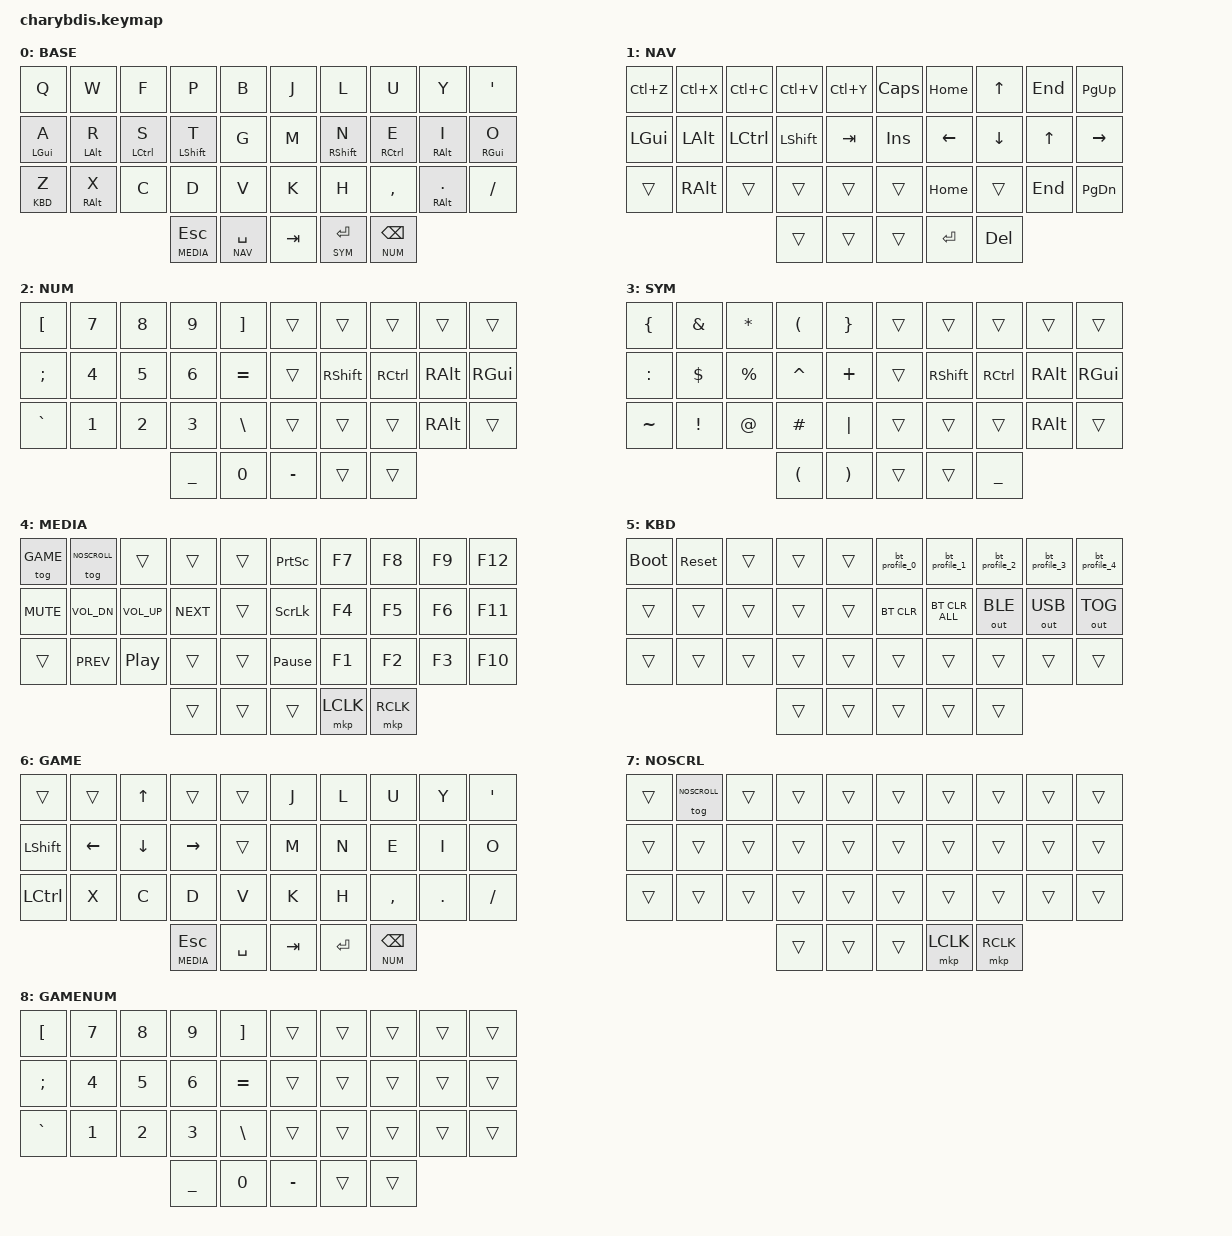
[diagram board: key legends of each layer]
#include <behaviors/mouse_keys.dtsi>
#include <dt-bindings/zmk/mouse.h>
#include <dt-bindings/zmk/pointing.h>
#include <behaviors.dtsi>
#include <dt-bindings/zmk/bt.h>
#include <dt-bindings/zmk/outputs.h>
#include <dt-bindings/zmk/keys.h>

#define BASE 0
#define NAV 1
#define NUM 2
#define SYM 3
#define MEDIA 4
#define KBD 5
#define GAME 6
#define NOSCROLL 7
#define GAME_NUM 8

#define U_TAPPING_TERM 200
#define QUICK_TAP_TERM 175

&mt {
    tapping-term-ms = <U_TAPPING_TERM>;
    quick-tap-ms = <QUICK_TAP_TERM>;
    flavor = "tap-preferred";
};

&lt {
    tapping-term-ms = <U_TAPPING_TERM>;
    quick-tap-ms = <QUICK_TAP_TERM>;       // Enable quick-tap for repeated keys (e.g., backspace)
    flavor = "balanced";                    // Hold activates when another key is pressed
                                            // retro-tap removed to allow layer activation
                                            // without another keypress (needed for scroll)
};

/ {
    chosen { zmk,matrix_transform = &default_transform; };
};

/ {
    macros {
        // Select the destination before disconnecting inactive host profiles.
        // BT_DISC preserves bonds and does not target the split peripheral.
        bt_profile_0: bt_profile_0 {
            compatible = "zmk,behavior-macro";
            #binding-cells = <0>;
            wait-ms = <0>;
            tap-ms = <0>;
            bindings = <&macro_press &bt BT_SEL 0 &out OUT_BLE
                        &bt BT_DISC 1 &bt BT_DISC 2 &bt BT_DISC 3 &bt BT_DISC 4>;
        };

        bt_profile_1: bt_profile_1 {
            compatible = "zmk,behavior-macro";
            #binding-cells = <0>;
            wait-ms = <0>;
            tap-ms = <0>;
            bindings = <&macro_press &bt BT_SEL 1 &out OUT_BLE
                        &bt BT_DISC 0 &bt BT_DISC 2 &bt BT_DISC 3 &bt BT_DISC 4>;
        };

        bt_profile_2: bt_profile_2 {
            compatible = "zmk,behavior-macro";
            #binding-cells = <0>;
            wait-ms = <0>;
            tap-ms = <0>;
            bindings = <&macro_press &bt BT_SEL 2 &out OUT_BLE
                        &bt BT_DISC 0 &bt BT_DISC 1 &bt BT_DISC 3 &bt BT_DISC 4>;
        };

        bt_profile_3: bt_profile_3 {
            compatible = "zmk,behavior-macro";
            #binding-cells = <0>;
            wait-ms = <0>;
            tap-ms = <0>;
            bindings = <&macro_press &bt BT_SEL 3 &out OUT_BLE
                        &bt BT_DISC 0 &bt BT_DISC 1 &bt BT_DISC 2 &bt BT_DISC 4>;
        };

        bt_profile_4: bt_profile_4 {
            compatible = "zmk,behavior-macro";
            #binding-cells = <0>;
            wait-ms = <0>;
            tap-ms = <0>;
            bindings = <&macro_press &bt BT_SEL 4 &out OUT_BLE
                        &bt BT_DISC 0 &bt BT_DISC 1 &bt BT_DISC 2 &bt BT_DISC 3>;
        };
    };

    conditional_layers {
        compatible = "zmk,conditional-layers";
        triple_layer_game_num {
            if-layers = <GAME NUM>;
            then-layer = <GAME_NUM>;
        };
    };

    behaviors {
        // Home row mods - balanced flavor like Miryoku
        // Requires holding for mod, but allows rolling for typing
        hrm_left: hrm_left {
            compatible = "zmk,behavior-hold-tap";
            label = "Homerow Mods Left";
            bindings = <&kp>, <&kp>;
            #binding-cells = <2>;
            tapping-term-ms = <280>;
            quick-tap-ms = <175>;
            require-prior-idle-ms = <150>;
            flavor = "balanced";
            hold-trigger-key-positions = <5 6 7 8 9 15 16 17 18 19 25 26 27 28 29 32 33 34>;
            hold-trigger-on-release;
        };

        hrm_right: hrm_right {
            compatible = "zmk,behavior-hold-tap";
            label = "Homerow Mods Right";
            bindings = <&kp>, <&kp>;
            #binding-cells = <2>;
            tapping-term-ms = <280>;
            quick-tap-ms = <175>;
            require-prior-idle-ms = <150>;
            flavor = "balanced";
            hold-trigger-key-positions = <0 1 2 3 4 10 11 12 13 14 20 21 22 23 24 30 31 34>;
            hold-trigger-on-release;
        };

        // Z key hold for KBD layer access
        z_kbd: z_kbd {
            compatible = "zmk,behavior-hold-tap";
            label = "Z KBD Layer";
            bindings = <&mo>, <&kp>;
            #binding-cells = <2>;
            tapping-term-ms = <200>;
            quick-tap-ms = <0>;
            flavor = "balanced";
        };
    };

    combos {
        compatible = "zmk,combos";

        // Q + ' = Keyboard Controls layer
        combo_kbd_layer {
            bindings = <&tog KBD>;
            key-positions = <0 9>;
            timeout-ms = <50>;
            layers = <BASE NAV NUM SYM MEDIA NOSCROLL>;
        };

        // Both shifts = Caps Word
        combo_caps_word {
            bindings = <&caps_word>;
            key-positions = <13 16>;
            timeout-ms = <50>;
            layers = <BASE NAV NUM SYM MEDIA NOSCROLL>;
        };

        // Return to base layer
        combo_base_layer {
            bindings = <&to BASE>;
            key-positions = <4 5>;
            timeout-ms = <50>;
            layers = <BASE NAV NUM SYM MEDIA KBD NOSCROLL>;
        };
    };

    keymap {
        compatible = "zmk,keymap";

        // Layer 0: BASE (Colemak-DH)
        BASE {
            label = "BASE";
            bindings = <
&kp Q              &kp W              &kp F              &kp P               &kp B                &kp J  &kp L               &kp U              &kp Y              &kp SQT
&hrm_left LGUI A   &hrm_left LALT R   &hrm_left LCTRL S  &hrm_left LSHFT T   &kp G                &kp M  &hrm_right RSHFT N  &hrm_right RCTRL E &hrm_right RALT I  &hrm_right RGUI O
&z_kbd KBD Z       &hrm_left RALT X   &kp C              &kp D               &kp V                &kp K  &kp H               &kp COMMA          &hrm_right RALT DOT &kp FSLH
                                                         &lt MEDIA ESC       &lt NAV SPACE  &kp TAB        &lt SYM RET        &lt NUM BSPC
            >;
        };

        // Layer 1: NAV (Navigation + Clipboard)
        NAV {
            label = "NAV";
            bindings = <
&kp LC(Z)  &kp LC(X)  &kp LC(C)  &kp LC(V)  &kp LC(Y)            &kp CAPS  &kp HOME  &kp UP    &kp END    &kp PG_UP
&kp LGUI   &kp LALT   &kp LCTRL  &kp LSHFT  &kp TAB              &kp INS   &kp LEFT  &kp DOWN  &kp UP     &kp RIGHT
&trans     &kp RALT   &trans     &trans     &trans               &trans    &kp HOME  &trans    &kp END    &kp PG_DN
                                 &trans     &trans      &trans             &kp RET   &kp DEL
            >;
        };

        // Layer 2: NUM (Numpad on left side - Miryoku style)
        NUM {
            label = "NUM";
            bindings = <
&kp LBKT   &kp N7     &kp N8     &kp N9     &kp RBKT             &trans    &trans    &trans    &trans     &trans
&kp SEMI   &kp N4     &kp N5     &kp N6     &kp EQUAL            &trans    &kp RSHFT &kp RCTRL &kp RALT   &kp RGUI
&kp GRAVE  &kp N1     &kp N2     &kp N3     &kp BSLH             &trans    &trans    &trans    &kp RALT   &trans
                                 &kp UNDER  &kp N0      &kp MINUS          &trans    &trans
            >;
        };

        // Layer 3: SYMBOLS (Shifted numpad symbols on left - Miryoku style)
        SYM {
            label = "SYM";
            bindings = <
&kp LBRC   &kp AMPS   &kp ASTRK  &kp LPAR   &kp RBRC             &trans    &trans    &trans    &trans     &trans
&kp COLON  &kp DLLR   &kp PRCNT  &kp CARET  &kp PLUS             &trans    &kp RSHFT &kp RCTRL &kp RALT   &kp RGUI
&kp TILDE  &kp EXCL   &kp AT     &kp HASH   &kp PIPE             &trans    &trans    &trans    &kp RALT   &trans
                                 &kp LPAR   &kp RPAR    &trans             &trans    &kp UNDER
            >;
        };

        // Layer 4: MEDIA + FUNCTION KEYS (Fkeys on right, Media on left)
        // Trackball is in scroll mode on this layer
        // Q = Toggle GAME mode
        // W = Toggle NOSCROLL (disable trackball movement - uses scroll mode)
        MEDIA {
            label = "MEDIA";
            bindings = <
&tog GAME &tog NOSCROLL &trans       &trans     &trans               &kp PSCRN       &kp F7     &kp F8     &kp F9     &kp F12
&kp C_MUTE &kp C_VOL_DN &kp C_VOL_UP &kp C_NEXT &trans               &kp SLCK        &kp F4     &kp F5     &kp F6     &kp F11
&trans     &kp C_PREV   &kp C_PP     &trans     &trans               &kp PAUSE_BREAK &kp F1     &kp F2     &kp F3     &kp F10
                                     &trans     &trans      &trans                   &mkp LCLK  &mkp RCLK
            >;
        };

        // Layer 5: KEYBOARD CONTROLS
        KBD {
            label = "KBD";
            bindings = <
&bootloader &sys_reset &trans     &trans     &trans               &bt_profile_0 &bt_profile_1 &bt_profile_2 &bt_profile_3 &bt_profile_4
&trans      &trans     &trans     &trans     &trans               &bt BT_CLR   &bt BT_CLR_ALL &out OUT_BLE &out OUT_USB &out OUT_TOG
&trans      &trans     &trans     &trans     &trans               &trans       &trans       &trans       &trans       &trans
                                  &trans     &trans      &trans                &trans       &trans
            >;
        };

        // Layer 6: GAME (Inverted-T arrows + plain keys)
        // Toggle from MEDIA layer (hold ESC, tap Q)
        // All dual-role keys become single-purpose to avoid hold-tap misfires
        // during sustained gameplay
        GAME {
            label = "GAME";
            bindings = <
&trans     &trans     &kp UP     &trans     &trans               &kp J        &kp L        &kp U        &kp Y        &kp SQT
&kp LSHFT  &kp LEFT   &kp DOWN   &kp RIGHT  &trans               &kp M        &kp N        &kp E        &kp I        &kp O
&kp LCTRL  &kp X      &kp C      &kp D      &kp V                &kp K        &kp H        &kp COMMA    &kp DOT      &kp FSLH
                                  &lt MEDIA ESC &kp SPACE &kp TAB            &kp RET      &lt NUM BSPC
            >;
        };

        // Layer 7: NOSCROLL (Trackball disabled - converts to scroll mode)
        // Toggle from MEDIA layer (hold ESC, tap W)
        // Trackball movement is converted to scroll, effectively "disabling" cursor movement
        NOSCROLL {
            label = "NOSCRL";
            bindings = <
&trans     &tog NOSCROLL &trans  &trans     &trans               &trans       &trans       &trans       &trans       &trans
&trans     &trans     &trans     &trans     &trans               &trans       &trans       &trans       &trans       &trans
&trans     &trans     &trans     &trans     &trans               &trans       &trans       &trans       &trans       &trans
                                 &trans     &trans      &trans                &mkp LCLK    &mkp RCLK
            >;
        };

        // Layer 8: GAME_NUM (Full numpad on left while GAME active)
        // Activated automatically when GAME + NUM are both active (conditional layer)
        // Left = full numpad; right = GAME letters preserved
        GAME_NUM {
            label = "GAMENUM";
            bindings = <
&kp LBKT   &kp N7     &kp N8     &kp N9     &kp RBKT             &trans    &trans    &trans    &trans     &trans
&kp SEMI   &kp N4     &kp N5     &kp N6     &kp EQUAL            &trans    &trans    &trans    &trans     &trans
&kp GRAVE  &kp N1     &kp N2     &kp N3     &kp BSLH             &trans    &trans    &trans    &trans     &trans
                                  &kp UNDER  &kp N0      &kp MINUS          &trans    &trans
            >;
        };
    };
};
